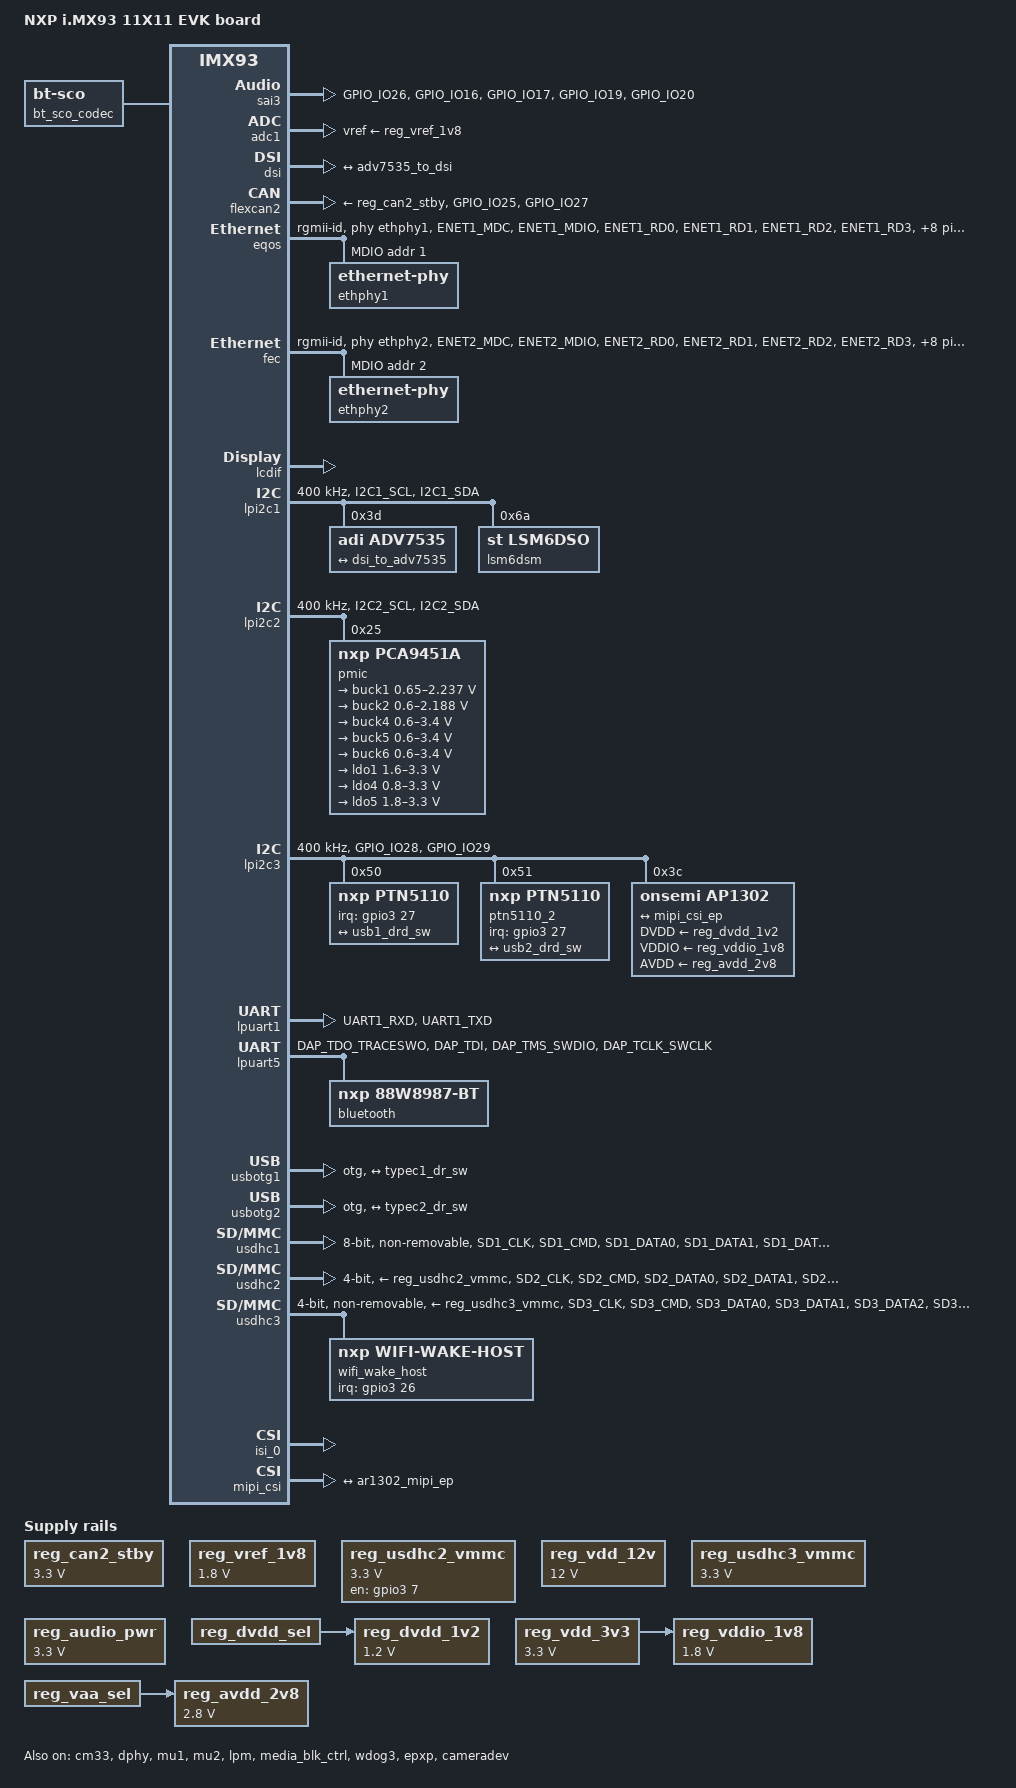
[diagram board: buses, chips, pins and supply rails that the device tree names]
// SPDX-License-Identifier: (GPL-2.0+ OR MIT)
/*
 * Copyright 2022 NXP
 */

/dts-v1/;

#include <dt-bindings/usb/pd.h>
#include "imx93.dtsi"

&ele_fw2 {
	memory-region = <&ele_reserved>;
};

/ {
	model = "NXP i.MX93 11X11 EVK board";
	compatible = "fsl,imx93-11x11-evk", "fsl,imx93";

	chosen {
		stdout-path = &lpuart1;
	};

	reserved-memory {
		#address-cells = <2>;
		#size-cells = <2>;
		ranges;

		linux,cma {
			compatible = "shared-dma-pool";
			reusable;
			alloc-ranges = <0 0x80000000 0 0x40000000>;
			size = <0 0x10000000>;
			linux,cma-default;
		};

		ethosu_mem: ethosu_region@C0000000 {
			compatible = "shared-dma-pool";
			reusable;
			reg = <0x0 0xC0000000 0x0 0x10000000>;
		};

		vdev0vring0: vdev0vring0@a4000000 {
			reg = <0 0xa4000000 0 0x8000>;
			no-map;
		};

		vdev0vring1: vdev0vring1@a4008000 {
			reg = <0 0xa4008000 0 0x8000>;
			no-map;
		};

		vdev1vring0: vdev1vring0@a4010000 {
			reg = <0 0xa4010000 0 0x8000>;
			no-map;
		};

		vdev1vring1: vdev1vring1@a4018000 {
			reg = <0 0xa4018000 0 0x8000>;
			no-map;
		};

		rsc_table: rsc-table@2021e000 {
			reg = <0 0x2021e000 0 0x1000>;
			no-map;
		};

		vdevbuffer: vdevbuffer@a4020000 {
			compatible = "shared-dma-pool";
			reg = <0 0xa4020000 0 0x100000>;
			no-map;
		};

		ele_reserved: ele-reserved@a4120000 {
			compatible = "shared-dma-pool";
			reg = <0 0xa4120000 0 0x100000>;
			no-map;
		};
	};

	ethosu {
		compatible = "arm,ethosu";
		fsl,cm33-proc = <&cm33>;
		memory-region = <&ethosu_mem>;
		power-domains = <&mlmix>;
	};

	reg_can2_stby: regulator-can2-stby {
		compatible = "regulator-fixed";
		regulator-name = "can2-stby";
		regulator-min-microvolt = <3300000>;
		regulator-max-microvolt = <3300000>;
		enable-active-low;
	};

	reg_vref_1v8: regulator-adc-vref {
		compatible = "regulator-fixed";
		regulator-name = "vref_1v8";
		regulator-min-microvolt = <1800000>;
		regulator-max-microvolt = <1800000>;
	};

	reg_usdhc2_vmmc: regulator-usdhc2 {
		compatible = "regulator-fixed";
		pinctrl-names = "default";
		pinctrl-0 = <&pinctrl_reg_usdhc2_vmmc>;
		regulator-name = "VSD_3V3";
		regulator-min-microvolt = <3300000>;
		regulator-max-microvolt = <3300000>;
		gpio = <&gpio3 7 GPIO_ACTIVE_HIGH>;
		off-on-delay-us = <12000>;
		enable-active-high;
	};

	reg_vdd_12v: regulator-vdd-12v {
		compatible = "regulator-fixed";
		regulator-name = "reg_vdd_12v";
		regulator-min-microvolt = <12000000>;
		regulator-max-microvolt = <12000000>;
		enable-active-high;
	};

	reg_usdhc3_vmmc: regulator-usdhc3 {
		compatible = "regulator-fixed";
		regulator-name = "WLAN_EN";
		regulator-min-microvolt = <3300000>;
		regulator-max-microvolt = <3300000>;
		/*
		 * IW612 wifi chip needs more delay than other wifi chips to complete
		 * the host interface initialization after power up, otherwise the
		 * internal state of IW612 may be unstable, resulting in the failure of
		 * the SDIO3.0 switch voltage.
		 */
		startup-delay-us = <20000>;
		enable-active-high;
	};

	usdhc3_pwrseq: usdhc3_pwrseq {
		compatible = "mmc-pwrseq-simple";
	};

	reg_audio_pwr: regulator-audio-pwr {
		compatible = "regulator-fixed";
		regulator-name = "audio-pwr";
		regulator-min-microvolt = <3300000>;
		regulator-max-microvolt = <3300000>;
		enable-active-high;
		regulator-always-on;
	};

	reg_dvdd_sel: regulator-dvdd_sel {
		compatible = "regulator-fixed";
		regulator-name = "DVDD_SEL";
		enable-active-high;
		startup-delay-us = <2000>;
	};

	reg_dvdd_1v2: regulator-dvdd {
		compatible = "regulator-fixed";
		regulator-name = "DVDD_1V2";
		regulator-min-microvolt = <1200000>;
		regulator-max-microvolt = <1200000>;
		enable-active-high;
		vin-supply = <&reg_dvdd_sel>;
	};

	reg_vdd_3v3: regulator-vdd {
		compatible = "regulator-fixed";
		regulator-name = "VDD_3V3";
		regulator-min-microvolt = <3300000>;
		regulator-max-microvolt = <3300000>;
		startup-delay-us = <4000>;
		enable-active-high;
	};

	reg_vddio_1v8: regulator-vddo {
		compatible = "regulator-fixed";
		regulator-name = "VDDIO_1V8";
		regulator-min-microvolt = <1800000>;
		regulator-max-microvolt = <1800000>;
		startup-delay-us = <4000>;
		enable-active-high;
		vin-supply = <&reg_vdd_3v3>;
	};

	reg_vaa_sel: regulator-vaa_sel {
		compatible = "regulator-fixed";
		regulator-name = "VAA_SEL";
		enable-active-high;
	};

	reg_avdd_2v8: regulator-avdd {
		compatible = "regulator-fixed";
		regulator-name = "AVDD_2V8";
		regulator-min-microvolt = <2800000>;
		regulator-max-microvolt = <2800000>;
		enable-active-high;
		vin-supply = <&reg_vaa_sel>;
	};

	bt_sco_codec: bt_sco_codec {
		#sound-dai-cells = <1>;
		compatible = "linux,bt-sco";
	};
};

&sai3 {
	pinctrl-names = "default", "sleep";
	pinctrl-0 = <&pinctrl_sai3>;
	pinctrl-1 = <&pinctrl_sai3_sleep>;
	assigned-clocks = <&clk IMX93_CLK_SAI3>;
	assigned-clock-parents = <&clk IMX93_CLK_AUDIO_PLL>;
	assigned-clock-rates = <12288000>;
	fsl,sai-mclk-direction-output;
	status = "okay";
};

&adc1 {
	vref-supply = <&reg_vref_1v8>;
	status = "okay";
};

&cm33 {
	mbox-names = "tx", "rx", "rxdb";
	mboxes = <&mu1 0 1>,
		 <&mu1 1 1>,
		 <&mu1 3 1>;
	memory-region = <&vdevbuffer>, <&vdev0vring0>, <&vdev0vring1>,
			<&vdev1vring0>, <&vdev1vring1>, <&rsc_table>;
	fsl,startup-delay-ms = <500>;
	status = "okay";
};

&dphy {
	status = "okay";
};

&dsi {
	status = "okay";

	ports {
		port@1 {
			reg = <1>;

			dsi_to_adv7535: endpoint {
				remote-endpoint = <&adv7535_to_dsi>;
			};
		};
	};
};

&flexcan2 {
	pinctrl-names = "default", "sleep";
	pinctrl-0 = <&pinctrl_flexcan2>;
	pinctrl-1 = <&pinctrl_flexcan2_sleep>;
	xceiver-supply = <&reg_can2_stby>;
	status = "okay";
};

&mu1 {
	status = "okay";
};

&mu2 {
	status = "okay";
};

&eqos {
	pinctrl-names = "default", "sleep";
	pinctrl-0 = <&pinctrl_eqos>;
	pinctrl-1 = <&pinctrl_eqos_sleep>;
	phy-mode = "rgmii-id";
	phy-handle = <&ethphy1>;
	status = "okay";

	mdio {
		compatible = "snps,dwmac-mdio";
		#address-cells = <1>;
		#size-cells = <0>;
		clock-frequency = <5000000>;

		ethphy1: ethernet-phy@1 {
			reg = <1>;
			eee-broken-1000t;
			reset-assert-us = <10000>;
			reset-deassert-us = <80000>;
			realtek,clkout-disable;
		};
	};
};

&fec {
	pinctrl-names = "default", "sleep";
	pinctrl-0 = <&pinctrl_fec>;
	pinctrl-1 = <&pinctrl_fec_sleep>;
	phy-mode = "rgmii-id";
	phy-handle = <&ethphy2>;
	fsl,magic-packet;
	status = "okay";

	mdio {
		#address-cells = <1>;
		#size-cells = <0>;
		clock-frequency = <5000000>;

		ethphy2: ethernet-phy@2 {
			reg = <2>;
			eee-broken-1000t;
			reset-assert-us = <10000>;
			reset-deassert-us = <80000>;
			realtek,clkout-disable;
		};
	};
};

&lcdif {
	status = "okay";
	assigned-clock-rates = <445333333>, <148444444>, <400000000>, <133333333>;
};

&lpm {
	soc-supply = <&buck1>;
	status = "okay";
};

/*
 * When add, delete or change any target device setting in &lpi2c1,
 * please synchronize the changes to the &i3c1 bus in imx93-11x11-evk-i3c.dts.
 */
&lpi2c1 {
	#address-cells = <1>;
	#size-cells = <0>;
	clock-frequency = <400000>;
	pinctrl-names = "default", "sleep";
	pinctrl-0 = <&pinctrl_lpi2c1>;
	pinctrl-1 = <&pinctrl_lpi2c1>;
	status = "okay";

	adv7535: hdmi@3d {
		compatible = "adi,adv7535";
		reg = <0x3d>;
		adi,addr-cec = <0x3b>;
		adi,dsi-lanes = <4>;
		status = "okay";

		port {
			adv7535_to_dsi: endpoint {
				remote-endpoint = <&dsi_to_adv7535>;
			};
		};
	};

	lsm6dsm@6a {
		compatible = "st,lsm6dso";
		reg = <0x6a>;
	};
};

&lpi2c2 {
	#address-cells = <1>;
	#size-cells = <0>;
	clock-frequency = <400000>;
	pinctrl-names = "default", "sleep";
	pinctrl-0 = <&pinctrl_lpi2c2>;
	pinctrl-1 = <&pinctrl_lpi2c2>;
	status = "okay";

	pmic@25 {
		compatible = "nxp,pca9451a";
		reg = <0x25>;

		regulators {
			buck1: BUCK1 {
				regulator-name = "BUCK1";
				regulator-min-microvolt = <650000>;
				regulator-max-microvolt = <2237500>;
				regulator-boot-on;
				regulator-always-on;
				regulator-ramp-delay = <3125>;
			};

			buck2: BUCK2 {
				regulator-name = "BUCK2";
				regulator-min-microvolt = <600000>;
				regulator-max-microvolt = <2187500>;
				regulator-boot-on;
				regulator-always-on;
				regulator-ramp-delay = <3125>;
			};

			buck4: BUCK4{
				regulator-name = "BUCK4";
				regulator-min-microvolt = <600000>;
				regulator-max-microvolt = <3400000>;
				regulator-boot-on;
				regulator-always-on;
			};

			buck5: BUCK5{
				regulator-name = "BUCK5";
				regulator-min-microvolt = <600000>;
				regulator-max-microvolt = <3400000>;
				regulator-boot-on;
				regulator-always-on;
			};

			buck6: BUCK6 {
				regulator-name = "BUCK6";
				regulator-min-microvolt = <600000>;
				regulator-max-microvolt = <3400000>;
				regulator-boot-on;
				regulator-always-on;
			};

			ldo1: LDO1 {
				regulator-name = "LDO1";
				regulator-min-microvolt = <1600000>;
				regulator-max-microvolt = <3300000>;
				regulator-boot-on;
				regulator-always-on;
			};

			ldo4: LDO4 {
				regulator-name = "LDO4";
				regulator-min-microvolt = <800000>;
				regulator-max-microvolt = <3300000>;
				regulator-boot-on;
				regulator-always-on;
			};

			ldo5: LDO5 {
				regulator-name = "LDO5";
				regulator-min-microvolt = <1800000>;
				regulator-max-microvolt = <3300000>;
				regulator-boot-on;
				regulator-always-on;
			};
		};
	};

};

&lpi2c3 {
	#address-cells = <1>;
	#size-cells = <0>;
	clock-frequency = <400000>;
	pinctrl-names = "default", "sleep";
	pinctrl-0 = <&pinctrl_lpi2c3>;
	pinctrl-1 = <&pinctrl_lpi2c3>;
	status = "okay";

	ptn5110: tcpc@50 {
		compatible = "nxp,ptn5110";
		reg = <0x50>;
		interrupt-parent = <&gpio3>;
		interrupts = <27 IRQ_TYPE_LEVEL_LOW>;
		status = "okay";

		port {
			typec1_dr_sw: endpoint {
				remote-endpoint = <&usb1_drd_sw>;
			};
		};

		typec1_con: connector {
			compatible = "usb-c-connector";
			label = "USB-C";
			power-role = "dual";
			data-role = "dual";
			try-power-role = "sink";
			source-pdos = <PDO_FIXED(5000, 3000, PDO_FIXED_USB_COMM)>;
			sink-pdos = <PDO_FIXED(5000, 3000, PDO_FIXED_USB_COMM)
				     PDO_VAR(5000, 20000, 3000)>;
			op-sink-microwatt = <15000000>;
			self-powered;
		};
	};

	ptn5110_2: tcpc@51 {
		compatible = "nxp,ptn5110";
		reg = <0x51>;
		interrupt-parent = <&gpio3>;
		interrupts = <27 IRQ_TYPE_LEVEL_LOW>;
		status = "okay";

		port {
			typec2_dr_sw: endpoint {
				remote-endpoint = <&usb2_drd_sw>;
			};
		};

		typec2_con: connector {
			compatible = "usb-c-connector";
			label = "USB-C";
			power-role = "dual";
			data-role = "dual";
			try-power-role = "sink";
			source-pdos = <PDO_FIXED(5000, 3000, PDO_FIXED_USB_COMM)>;
			sink-pdos = <PDO_FIXED(5000, 3000, PDO_FIXED_USB_COMM)
				     PDO_VAR(5000, 20000, 3000)>;
			op-sink-microwatt = <15000000>;
			self-powered;
		};
	};

	ap1302: ap1302_mipi@3c {
		compatible = "onsemi,ap1302";
		reg = <0x3c>;
		DVDD-supply   = <&reg_dvdd_1v2>;
		VDDIO-supply  = <&reg_vddio_1v8>;
		AVDD-supply   = <&reg_avdd_2v8>;
		status = "okay";

		port {
			ar1302_mipi_ep: endpoint {
				remote-endpoint = <&mipi_csi_ep>;
			};
		};
	};
};

&lpuart1 { /* console */
	pinctrl-names = "default";
	pinctrl-0 = <&pinctrl_uart1>;
	status = "okay";
};

&lpuart5 {
	/* BT */
	pinctrl-names = "default";
	pinctrl-0 = <&pinctrl_uart5>;
	status = "okay";

	bluetooth {
		compatible = "nxp,88w8987-bt";
	};
};

&media_blk_ctrl {
	status = "okay";
};

&usbotg1 {
	dr_mode = "otg";
	hnp-disable;
	srp-disable;
	adp-disable;
	usb-role-switch;
	disable-over-current;
	samsung,picophy-pre-emp-curr-control = <3>;
	samsung,picophy-dc-vol-level-adjust = <7>;
	status = "okay";

	port {
		usb1_drd_sw: endpoint {
			remote-endpoint = <&typec1_dr_sw>;
		};
	};
};

&usbotg2 {
	dr_mode = "otg";
	hnp-disable;
	srp-disable;
	adp-disable;
	usb-role-switch;
	disable-over-current;
	samsung,picophy-pre-emp-curr-control = <3>;
	samsung,picophy-dc-vol-level-adjust = <7>;
	status = "okay";

	port {
		usb2_drd_sw: endpoint {
			remote-endpoint = <&typec2_dr_sw>;
		};
	};
};

&usdhc1 {
	pinctrl-names = "default", "state_100mhz", "state_200mhz";
	pinctrl-0 = <&pinctrl_usdhc1>;
	pinctrl-1 = <&pinctrl_usdhc1_100mhz>;
	pinctrl-2 = <&pinctrl_usdhc1_200mhz>;
	bus-width = <8>;
	non-removable;
	status = "okay";
};

&usdhc2 {
	pinctrl-names = "default", "state_100mhz", "state_200mhz", "sleep";
	pinctrl-0 = <&pinctrl_usdhc2>, <&pinctrl_usdhc2_gpio>;
	pinctrl-1 = <&pinctrl_usdhc2_100mhz>, <&pinctrl_usdhc2_gpio>;
	pinctrl-2 = <&pinctrl_usdhc2_200mhz>, <&pinctrl_usdhc2_gpio>;
	pinctrl-3 = <&pinctrl_usdhc2_sleep>, <&pinctrl_usdhc2_gpio_sleep>;
	cd-gpios = <&gpio3 00 GPIO_ACTIVE_LOW>;
	fsl,cd-gpio-wakeup-disable;
	vmmc-supply = <&reg_usdhc2_vmmc>;
	bus-width = <4>;
	status = "okay";
	no-sdio;
	no-mmc;
};

&usdhc3 {
	pinctrl-names = "default", "state_100mhz", "state_200mhz", "sleep";
	pinctrl-0 = <&pinctrl_usdhc3>, <&pinctrl_usdhc3_wlan>;
	pinctrl-1 = <&pinctrl_usdhc3_100mhz>, <&pinctrl_usdhc3_wlan>;
	pinctrl-2 = <&pinctrl_usdhc3_200mhz>, <&pinctrl_usdhc3_wlan>;
	pinctrl-3 = <&pinctrl_usdhc3_sleep>, <&pinctrl_usdhc3_wlan>;
	mmc-pwrseq = <&usdhc3_pwrseq>;
	vmmc-supply = <&reg_usdhc3_vmmc>;
	bus-width = <4>;
	keep-power-in-suspend;
	non-removable;
	wakeup-source;
	status = "okay";

	wifi_wake_host {
		compatible = "nxp,wifi-wake-host";
		interrupt-parent = <&gpio3>;
		interrupts = <26 IRQ_TYPE_LEVEL_LOW>;
		interrupt-names = "host-wake";
	};
};

&wdog3 {
	status = "okay";
};

&iomuxc {
	pinctrl_eqos: eqosgrp {
		fsl,pins = <
			MX93_PAD_ENET1_MDC__ENET_QOS_MDC			0x57e
			MX93_PAD_ENET1_MDIO__ENET_QOS_MDIO			0x57e
			MX93_PAD_ENET1_RD0__ENET_QOS_RGMII_RD0			0x57e
			MX93_PAD_ENET1_RD1__ENET_QOS_RGMII_RD1			0x57e
			MX93_PAD_ENET1_RD2__ENET_QOS_RGMII_RD2			0x57e
			MX93_PAD_ENET1_RD3__ENET_QOS_RGMII_RD3			0x57e
			MX93_PAD_ENET1_RXC__CCM_ENET_QOS_CLOCK_GENERATE_RX_CLK	0x58e
			MX93_PAD_ENET1_RX_CTL__ENET_QOS_RGMII_RX_CTL		0x57e
			MX93_PAD_ENET1_TD0__ENET_QOS_RGMII_TD0			0x57e
			MX93_PAD_ENET1_TD1__ENET_QOS_RGMII_TD1			0x57e
			MX93_PAD_ENET1_TD2__ENET_QOS_RGMII_TD2			0x57e
			MX93_PAD_ENET1_TD3__ENET_QOS_RGMII_TD3			0x57e
			MX93_PAD_ENET1_TXC__CCM_ENET_QOS_CLOCK_GENERATE_TX_CLK	0x58e
			MX93_PAD_ENET1_TX_CTL__ENET_QOS_RGMII_TX_CTL		0x57e
		>;
	};

	pinctrl_eqos_sleep: eqosgrpsleep {
		fsl,pins = <
			MX93_PAD_ENET1_MDC__GPIO4_IO00				0x31e
			MX93_PAD_ENET1_MDIO__GPIO4_IO01				0x31e
			MX93_PAD_ENET1_RD0__GPIO4_IO10                          0x31e
			MX93_PAD_ENET1_RD1__GPIO4_IO11				0x31e
			MX93_PAD_ENET1_RD2__GPIO4_IO12				0x31e
			MX93_PAD_ENET1_RD3__GPIO4_IO13				0x31e
			MX93_PAD_ENET1_RXC__GPIO4_IO09                          0x31e
			MX93_PAD_ENET1_RX_CTL__GPIO4_IO08			0x31e
			MX93_PAD_ENET1_TD0__GPIO4_IO05                          0x31e
			MX93_PAD_ENET1_TD1__GPIO4_IO04                          0x31e
			MX93_PAD_ENET1_TD2__GPIO4_IO03				0x31e
			MX93_PAD_ENET1_TD3__GPIO4_IO02				0x31e
			MX93_PAD_ENET1_TXC__GPIO4_IO07                          0x31e
			MX93_PAD_ENET1_TX_CTL__GPIO4_IO06                       0x31e
		>;
	};

	pinctrl_fec: fecgrp {
		fsl,pins = <
			MX93_PAD_ENET2_MDC__ENET1_MDC			0x57e
			MX93_PAD_ENET2_MDIO__ENET1_MDIO			0x57e
			MX93_PAD_ENET2_RD0__ENET1_RGMII_RD0		0x57e
			MX93_PAD_ENET2_RD1__ENET1_RGMII_RD1		0x57e
			MX93_PAD_ENET2_RD2__ENET1_RGMII_RD2		0x57e
			MX93_PAD_ENET2_RD3__ENET1_RGMII_RD3		0x57e
			MX93_PAD_ENET2_RXC__ENET1_RGMII_RXC		0x58e
			MX93_PAD_ENET2_RX_CTL__ENET1_RGMII_RX_CTL	0x57e
			MX93_PAD_ENET2_TD0__ENET1_RGMII_TD0		0x57e
			MX93_PAD_ENET2_TD1__ENET1_RGMII_TD1		0x57e
			MX93_PAD_ENET2_TD2__ENET1_RGMII_TD2		0x57e
			MX93_PAD_ENET2_TD3__ENET1_RGMII_TD3		0x57e
			MX93_PAD_ENET2_TXC__ENET1_RGMII_TXC		0x58e
			MX93_PAD_ENET2_TX_CTL__ENET1_RGMII_TX_CTL	0x57e
		>;
	};

	pinctrl_fec_sleep: fecsleepgrp {
		fsl,pins = <
			MX93_PAD_ENET2_MDC__GPIO4_IO14			0x51e
			MX93_PAD_ENET2_MDIO__GPIO4_IO15			0x51e
			MX93_PAD_ENET2_RD0__GPIO4_IO24			0x51e
			MX93_PAD_ENET2_RD1__GPIO4_IO25			0x51e
			MX93_PAD_ENET2_RD2__GPIO4_IO26			0x51e
			MX93_PAD_ENET2_RD3__GPIO4_IO27			0x51e
			MX93_PAD_ENET2_RXC__GPIO4_IO23                  0x51e
			MX93_PAD_ENET2_RX_CTL__GPIO4_IO22		0x51e
			MX93_PAD_ENET2_TD0__GPIO4_IO19			0x51e
			MX93_PAD_ENET2_TD1__GPIO4_IO18			0x51e
			MX93_PAD_ENET2_TD2__GPIO4_IO17			0x51e
			MX93_PAD_ENET2_TD3__GPIO4_IO16			0x51e
			MX93_PAD_ENET2_TXC__GPIO4_IO21                  0x51e
			MX93_PAD_ENET2_TX_CTL__GPIO4_IO20               0x51e
		>;
	};

	pinctrl_flexcan2: flexcan2grp {
		fsl,pins = <
			MX93_PAD_GPIO_IO25__CAN2_TX	0x139e
			MX93_PAD_GPIO_IO27__CAN2_RX	0x139e
		>;
	};
	pinctrl_flexcan2_sleep: flexcan2sleepgrp {
		fsl,pins = <
			MX93_PAD_GPIO_IO25__GPIO2_IO25  0x31e
			MX93_PAD_GPIO_IO27__GPIO2_IO27	0x31e
		>;
	};


	pinctrl_lpi2c1: lpi2c1grp {
		fsl,pins = <
			MX93_PAD_I2C1_SCL__LPI2C1_SCL			0x40000b9e
			MX93_PAD_I2C1_SDA__LPI2C1_SDA			0x40000b9e
		>;
	};

	pinctrl_lpi2c2: lpi2c2grp {
		fsl,pins = <
			MX93_PAD_I2C2_SCL__LPI2C2_SCL			0x40000b9e
			MX93_PAD_I2C2_SDA__LPI2C2_SDA			0x40000b9e
		>;
	};

	pinctrl_lpi2c3: lpi2c3grp {
		fsl,pins = <
			MX93_PAD_GPIO_IO28__LPI2C3_SDA			0x40000b9e
			MX93_PAD_GPIO_IO29__LPI2C3_SCL			0x40000b9e
		>;
	};

	pinctrl_uart1: uart1grp {
		fsl,pins = <
			MX93_PAD_UART1_RXD__LPUART1_RX			0x31e
			MX93_PAD_UART1_TXD__LPUART1_TX			0x31e
		>;
	};

	pinctrl_uart5: uart5grp {
		fsl,pins = <
			MX93_PAD_DAP_TDO_TRACESWO__LPUART5_TX	0x31e
			MX93_PAD_DAP_TDI__LPUART5_RX		0x31e
			MX93_PAD_DAP_TMS_SWDIO__LPUART5_RTS_B	0x31e
			MX93_PAD_DAP_TCLK_SWCLK__LPUART5_CTS_B	0x31e
		>;
	};

	/* need to config the SION for data and cmd pad, refer to ERR052021 */
	pinctrl_usdhc1: usdhc1grp {
		fsl,pins = <
			MX93_PAD_SD1_CLK__USDHC1_CLK		0x1582
			MX93_PAD_SD1_CMD__USDHC1_CMD		0x40001382
			MX93_PAD_SD1_DATA0__USDHC1_DATA0	0x40001382
			MX93_PAD_SD1_DATA1__USDHC1_DATA1	0x40001382
			MX93_PAD_SD1_DATA2__USDHC1_DATA2	0x40001382
			MX93_PAD_SD1_DATA3__USDHC1_DATA3	0x40001382
			MX93_PAD_SD1_DATA4__USDHC1_DATA4	0x40001382
			MX93_PAD_SD1_DATA5__USDHC1_DATA5	0x40001382
			MX93_PAD_SD1_DATA6__USDHC1_DATA6	0x40001382
			MX93_PAD_SD1_DATA7__USDHC1_DATA7	0x40001382
			MX93_PAD_SD1_STROBE__USDHC1_STROBE	0x1582
		>;
	};

	/* need to config the SION for data and cmd pad, refer to ERR052021 */
	pinctrl_usdhc1_100mhz: usdhc1-100mhzgrp {
		fsl,pins = <
			MX93_PAD_SD1_CLK__USDHC1_CLK		0x158e
			MX93_PAD_SD1_CMD__USDHC1_CMD		0x4000138e
			MX93_PAD_SD1_DATA0__USDHC1_DATA0	0x4000138e
			MX93_PAD_SD1_DATA1__USDHC1_DATA1	0x4000138e
			MX93_PAD_SD1_DATA2__USDHC1_DATA2	0x4000138e
			MX93_PAD_SD1_DATA3__USDHC1_DATA3	0x4000138e
			MX93_PAD_SD1_DATA4__USDHC1_DATA4	0x4000138e
			MX93_PAD_SD1_DATA5__USDHC1_DATA5	0x4000138e
			MX93_PAD_SD1_DATA6__USDHC1_DATA6	0x4000138e
			MX93_PAD_SD1_DATA7__USDHC1_DATA7	0x4000138e
			MX93_PAD_SD1_STROBE__USDHC1_STROBE	0x158e
		>;
	};

	/* need to config the SION for data and cmd pad, refer to ERR052021 */
	pinctrl_usdhc1_200mhz: usdhc1-200mhzgrp {
		fsl,pins = <
			MX93_PAD_SD1_CLK__USDHC1_CLK		0x15fe
			MX93_PAD_SD1_CMD__USDHC1_CMD		0x400013fe
			MX93_PAD_SD1_DATA0__USDHC1_DATA0	0x400013fe
			MX93_PAD_SD1_DATA1__USDHC1_DATA1	0x400013fe
			MX93_PAD_SD1_DATA2__USDHC1_DATA2	0x400013fe
			MX93_PAD_SD1_DATA3__USDHC1_DATA3	0x400013fe
			MX93_PAD_SD1_DATA4__USDHC1_DATA4	0x400013fe
			MX93_PAD_SD1_DATA5__USDHC1_DATA5	0x400013fe
			MX93_PAD_SD1_DATA6__USDHC1_DATA6	0x400013fe
			MX93_PAD_SD1_DATA7__USDHC1_DATA7	0x400013fe
			MX93_PAD_SD1_STROBE__USDHC1_STROBE	0x15fe
		>;
	};

	pinctrl_reg_usdhc2_vmmc: regusdhc2vmmcgrp {
		fsl,pins = <
			MX93_PAD_SD2_RESET_B__GPIO3_IO07	0x31e
		>;
	};

	pinctrl_usdhc2_gpio: usdhc2gpiogrp {
		fsl,pins = <
			MX93_PAD_SD2_CD_B__GPIO3_IO00		0x31e
		>;
	};

	pinctrl_usdhc2_gpio_sleep: usdhc2gpiogrpsleep {
		fsl,pins = <
			MX93_PAD_SD2_CD_B__GPIO3_IO00		0x51e
		>;
	};

	/* need to config the SION for data and cmd pad, refer to ERR052021 */
	pinctrl_usdhc2: usdhc2grp {
		fsl,pins = <
			MX93_PAD_SD2_CLK__USDHC2_CLK		0x1582
			MX93_PAD_SD2_CMD__USDHC2_CMD		0x40001382
			MX93_PAD_SD2_DATA0__USDHC2_DATA0	0x40001382
			MX93_PAD_SD2_DATA1__USDHC2_DATA1	0x40001382
			MX93_PAD_SD2_DATA2__USDHC2_DATA2	0x40001382
			MX93_PAD_SD2_DATA3__USDHC2_DATA3	0x40001382
			MX93_PAD_SD2_VSELECT__USDHC2_VSELECT	0x51e
		>;
	};

	/* need to config the SION for data and cmd pad, refer to ERR052021 */
	pinctrl_usdhc2_100mhz: usdhc2-100mhzgrp {
		fsl,pins = <
			MX93_PAD_SD2_CLK__USDHC2_CLK		0x158e
			MX93_PAD_SD2_CMD__USDHC2_CMD		0x4000138e
			MX93_PAD_SD2_DATA0__USDHC2_DATA0	0x4000138e
			MX93_PAD_SD2_DATA1__USDHC2_DATA1	0x4000138e
			MX93_PAD_SD2_DATA2__USDHC2_DATA2	0x4000138e
			MX93_PAD_SD2_DATA3__USDHC2_DATA3	0x4000138e
			MX93_PAD_SD2_VSELECT__USDHC2_VSELECT	0x51e
		>;
	};

	/* need to config the SION for data and cmd pad, refer to ERR052021 */
	pinctrl_usdhc2_200mhz: usdhc2-200mhzgrp {
		fsl,pins = <
			MX93_PAD_SD2_CLK__USDHC2_CLK		0x15fe
			MX93_PAD_SD2_CMD__USDHC2_CMD		0x400013fe
			MX93_PAD_SD2_DATA0__USDHC2_DATA0	0x400013fe
			MX93_PAD_SD2_DATA1__USDHC2_DATA1	0x400013fe
			MX93_PAD_SD2_DATA2__USDHC2_DATA2	0x400013fe
			MX93_PAD_SD2_DATA3__USDHC2_DATA3	0x400013fe
			MX93_PAD_SD2_VSELECT__USDHC2_VSELECT	0x51e
		>;
	};

	pinctrl_usdhc2_sleep: usdhc2grpsleep {
		fsl,pins = <
			MX93_PAD_SD2_CLK__GPIO3_IO01            0x51e
			MX93_PAD_SD2_CMD__GPIO3_IO02		0x51e
			MX93_PAD_SD2_DATA0__GPIO3_IO03		0x51e
			MX93_PAD_SD2_DATA1__GPIO3_IO04		0x51e
			MX93_PAD_SD2_DATA2__GPIO3_IO05		0x51e
			MX93_PAD_SD2_DATA3__GPIO3_IO06		0x51e
			MX93_PAD_SD2_VSELECT__GPIO3_IO19	0x51e
		>;
	};

	/* need to config the SION for data and cmd pad, refer to ERR052021 */
	pinctrl_usdhc3: usdhc3grp {
		fsl,pins = <
			MX93_PAD_SD3_CLK__USDHC3_CLK		0x1582
			MX93_PAD_SD3_CMD__USDHC3_CMD		0x40001382
			MX93_PAD_SD3_DATA0__USDHC3_DATA0	0x40001382
			MX93_PAD_SD3_DATA1__USDHC3_DATA1	0x40001382
			MX93_PAD_SD3_DATA2__USDHC3_DATA2	0x40001382
			MX93_PAD_SD3_DATA3__USDHC3_DATA3	0x40001382
		>;
	};

	/* need to config the SION for data and cmd pad, refer to ERR052021 */
	pinctrl_usdhc3_100mhz: usdhc3-100mhzgrp {
		fsl,pins = <
			MX93_PAD_SD3_CLK__USDHC3_CLK		0x158e
			MX93_PAD_SD3_CMD__USDHC3_CMD		0x4000138e
			MX93_PAD_SD3_DATA0__USDHC3_DATA0	0x4000138e
			MX93_PAD_SD3_DATA1__USDHC3_DATA1	0x4000138e
			MX93_PAD_SD3_DATA2__USDHC3_DATA2	0x4000138e
			MX93_PAD_SD3_DATA3__USDHC3_DATA3	0x4000138e
		>;
	};

	/* need to config the SION for data and cmd pad, refer to ERR052021 */
	pinctrl_usdhc3_200mhz: usdhc3-200mhzgrp {
		fsl,pins = <
			MX93_PAD_SD3_CLK__USDHC3_CLK		0x15fe
			MX93_PAD_SD3_CMD__USDHC3_CMD		0x400013fe
			MX93_PAD_SD3_DATA0__USDHC3_DATA0	0x400013fe
			MX93_PAD_SD3_DATA1__USDHC3_DATA1	0x400013fe
			MX93_PAD_SD3_DATA2__USDHC3_DATA2	0x400013fe
			MX93_PAD_SD3_DATA3__USDHC3_DATA3	0x400013fe
		>;
	};

	pinctrl_usdhc3_sleep: usdhc3grpsleep {
		fsl,pins = <
			MX93_PAD_SD3_CLK__GPIO3_IO20		0x31e
			MX93_PAD_SD3_CMD__GPIO3_IO21		0x31e
			MX93_PAD_SD3_DATA0__GPIO3_IO22		0x31e
			MX93_PAD_SD3_DATA1__GPIO3_IO23		0x31e
			MX93_PAD_SD3_DATA2__GPIO3_IO24		0x31e
			MX93_PAD_SD3_DATA3__GPIO3_IO25		0x31e
		>;
	};

	pinctrl_usdhc3_wlan: usdhc3wlangrp {
		fsl,pins = <
			MX93_PAD_CCM_CLKO1__GPIO3_IO26		0x31e
		>;
	};

	pinctrl_sai3: sai3grp {
		fsl,pins = <
			MX93_PAD_GPIO_IO26__SAI3_TX_SYNC		0x31e
			MX93_PAD_GPIO_IO16__SAI3_TX_BCLK		0x31e
			MX93_PAD_GPIO_IO17__SAI3_MCLK			0x31e
			MX93_PAD_GPIO_IO19__SAI3_TX_DATA00		0x31e
			MX93_PAD_GPIO_IO20__SAI3_RX_DATA00		0x31e
		>;
	};

	pinctrl_sai3_sleep: sai3grpsleep {
		fsl,pins = <
			MX93_PAD_GPIO_IO26__GPIO2_IO26			0x51e
			MX93_PAD_GPIO_IO16__GPIO2_IO16			0x51e
			MX93_PAD_GPIO_IO17__GPIO2_IO17			0x51e
			MX93_PAD_GPIO_IO19__GPIO2_IO19			0x51e
			MX93_PAD_GPIO_IO20__GPIO2_IO20			0x51e
		>;
	};
};

&epxp {
	status = "okay";
};

&cameradev {
	status = "okay";
};

&isi_0 {
	status = "okay";

	cap_device {
		status = "okay";
	};
};

&mipi_csi {
	status = "okay";

	port {
		mipi_csi_ep: endpoint {
			remote-endpoint = <&ar1302_mipi_ep>;
			data-lanes = <2>;
			cfg-clk-range = <28>;
			hs-clk-range = <0x2b>;
			bus-type = <4>;
		};
	};
};
